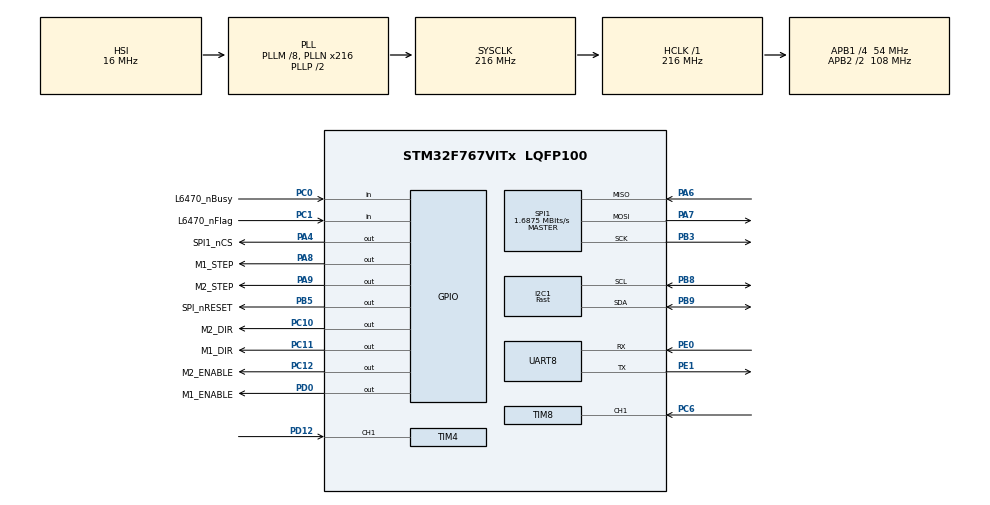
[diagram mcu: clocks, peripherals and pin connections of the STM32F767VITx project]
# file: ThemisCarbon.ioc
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Dma.Request0=UART8_RX
Dma.Request1=UART8_TX
Dma.UART8_RX.0.Direction=DMA_PERIPH_TO_MEMORY
Dma.UART8_RX.0.FIFOMode=DMA_FIFOMODE_DISABLE
Dma.UART8_RX.0.Instance=DMA1_Stream6
Dma.UART8_RX.0.MemDataAlignment=DMA_MDATAALIGN_BYTE
Dma.UART8_RX.0.MemInc=DMA_MINC_ENABLE
Dma.UART8_RX.0.Mode=DMA_CIRCULAR
Dma.UART8_RX.0.PeriphDataAlignment=DMA_PDATAALIGN_BYTE
Dma.UART8_RX.0.PeriphInc=DMA_PINC_DISABLE
Dma.UART8_RX.0.Priority=DMA_PRIORITY_LOW
Dma.UART8_TX.1.Direction=DMA_MEMORY_TO_PERIPH
Dma.UART8_TX.1.FIFOMode=DMA_FIFOMODE_DISABLE
Dma.UART8_TX.1.Instance=DMA1_Stream0
Dma.UART8_TX.1.MemDataAlignment=DMA_MDATAALIGN_BYTE
Dma.UART8_TX.1.MemInc=DMA_MINC_ENABLE
Dma.UART8_TX.1.Mode=DMA_NORMAL
Dma.UART8_TX.1.PeriphDataAlignment=DMA_PDATAALIGN_BYTE
Dma.UART8_TX.1.PeriphInc=DMA_PINC_DISABLE
Dma.UART8_TX.1.Priority=DMA_PRIORITY_LOW
I2C1.I2C_Speed_Mode=I2C_Fast
I2C1.Timing=0x6000030D
Mcu.Family=STM32F7
Mcu.Name=STM32F767VITx
Mcu.Package=LQFP100
NVIC.DMA1_Stream0_IRQn=true\:0\:0\:false\:false\:true\:true
NVIC.DMA1_Stream6_IRQn=true\:0\:0\:false\:false\:true\:true
NVIC.PriorityGroup=NVIC_PRIORITYGROUP_4
NVIC.TIM2_IRQn=true\:0\:0\:false\:false\:true\:true
NVIC.UART8_IRQn=true\:0\:0\:false\:false\:true\:true
PA13.Mode=Serial_Wire
PA13.Signal=SYS_JTMS-SWDIO
PA14.Mode=Serial_Wire
PA14.Signal=SYS_JTCK-SWCLK
PA4.GPIO_Label=SPI1_nCS
PA4.GPIO_ModeDefaultOutputPP=GPIO_MODE_OUTPUT_OD
PA4.GPIO_PuPd=GPIO_PULLUP
PA4.Signal=GPIO_Output
PA6.Mode=Full_Duplex_Master
PA6.Signal=SPI1_MISO
PA7.Mode=Full_Duplex_Master
PA7.Signal=SPI1_MOSI
PA8.GPIO_Label=M1_STEP
PA8.Signal=GPIO_Output
PA9.GPIO_Label=M2_STEP
PA9.Signal=GPIO_Output
PB3.Mode=Full_Duplex_Master
PB3.Signal=SPI1_SCK
PB5.GPIO_Label=SPI_nRESET
PB5.GPIO_ModeDefaultOutputPP=GPIO_MODE_OUTPUT_OD
PB5.GPIO_PuPd=GPIO_PULLUP
PB5.Signal=GPIO_Output
PB8.Mode=I2C
PB8.Signal=I2C1_SCL
PB9.Mode=I2C
PB9.Signal=I2C1_SDA
PC0.GPIO_Label=L6470_nBusy
PC0.Signal=GPIO_Input
PC1.GPIO_Label=L6470_nFlag
PC1.Signal=GPIO_Input
PC10.GPIO_Label=M2_DIR
PC10.Signal=GPIO_Output
PC11.GPIO_Label=M1_DIR
PC11.Signal=GPIO_Output
PC12.GPIO_Label=M2_ENABLE
PC12.Signal=GPIO_Output
PC6.Signal=S_TIM8_CH1
PD0.GPIO_Label=M1_ENABLE
PD0.Signal=GPIO_Output
PD12.Signal=S_TIM4_CH1
PE0.Mode=Asynchronous
PE0.Signal=UART8_RX
PE1.Mode=Asynchronous
PE1.Signal=UART8_TX
ProjectManager.HeapSize=0x200
ProjectManager.StackSize=0x400
ProjectManager.TargetToolchain=TrueSTUDIO
RCC.AHBFreq_Value=216000000
RCC.APB1CLKDivider=RCC_HCLK_DIV4
RCC.APB1Freq_Value=54000000
RCC.APB1TimFreq_Value=108000000
RCC.APB2CLKDivider=RCC_HCLK_DIV2
RCC.APB2Freq_Value=108000000
RCC.APB2TimFreq_Value=216000000
RCC.CortexFreq_Value=216000000
RCC.HCLKFreq_Value=216000000
RCC.HSE_VALUE=25000000
RCC.HSI_VALUE=16000000
RCC.LSE_VALUE=32768
RCC.PLLM=8
RCC.PLLN=216
RCC.SYSCLKFreq_VALUE=216000000
RCC.SYSCLKSource=RCC_SYSCLKSOURCE_PLLCLK
RCC.USBFreq_Value=216000000
RCC.VCOOutputFreq_Value=432000000
SH.S_TIM4_CH1.0=TIM4_CH1,PWM_Input_1
SH.S_TIM8_CH1.0=TIM8_CH1,PWM_Input_1
SPI1.BaudRatePrescaler=SPI_BAUDRATEPRESCALER_64
SPI1.CalculateBaudRate=1.6875 MBits/s
SPI1.DataSize=SPI_DATASIZE_8BIT
SPI1.Direction=SPI_DIRECTION_2LINES
SPI1.Mode=SPI_MODE_MASTER
SPI1.VirtualType=VM_MASTER
TIM2.Period=107
TIM2.Prescaler=3
TIM4.Period=0xffff
TIM4.Prescaler=107
TIM8.Period=0xffff
TIM8.Prescaler=215
UART8.WordLength=WORDLENGTH_8B
VP_TIM2_VS_ClockSourceINT.Mode=Internal
VP_TIM4_VS_ClockSourceINT.Mode=Internal
VP_TIM8_VS_ClockSourceINT.Mode=Internal
board=ThemisCarbon

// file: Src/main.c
/**
  ******************************************************************************
  * File Name          : main.c
  * Description        : Main program body
  ******************************************************************************
  ** This notice applies to any and all portions of this file
  * that are not between comment pairs USER CODE BEGIN and
  * USER CODE END. Other portions of this file, whether
  * inserted by the user or by software development tools
  * are owned by their respective copyright owners.
  *
  * COPYRIGHT(c) 2017 STMicroelectronics
  *
  * Redistribution and use in source and binary forms, with or without modification,
  * are permitted provided that the following conditions are met:
  *   1. Redistributions of source code must retain the above copyright notice,
  *      this list of conditions and the following disclaimer.
  *   2. Redistributions in binary form must reproduce the above copyright notice,
  *      this list of conditions and the following disclaimer in the documentation
  *      and/or other materials provided with the distribution.
  *   3. Neither the name of STMicroelectronics nor the names of its contributors
  *      may be used to endorse or promote products derived from this software
  *      without specific prior written permission.
  *
  * THIS SOFTWARE IS PROVIDED BY THE COPYRIGHT HOLDERS AND CONTRIBUTORS "AS IS"
  * AND ANY EXPRESS OR IMPLIED WARRANTIES, INCLUDING, BUT NOT LIMITED TO, THE
  * IMPLIED WARRANTIES OF MERCHANTABILITY AND FITNESS FOR A PARTICULAR PURPOSE ARE
  * DISCLAIMED. IN NO EVENT SHALL THE COPYRIGHT HOLDER OR CONTRIBUTORS BE LIABLE
  * FOR ANY DIRECT, INDIRECT, INCIDENTAL, SPECIAL, EXEMPLARY, OR CONSEQUENTIAL
  * DAMAGES (INCLUDING, BUT NOT LIMITED TO, PROCUREMENT OF SUBSTITUTE GOODS OR
  * SERVICES; LOSS OF USE, DATA, OR PROFITS; OR BUSINESS INTERRUPTION) HOWEVER
  * CAUSED AND ON ANY THEORY OF LIABILITY, WHETHER IN CONTRACT, STRICT LIABILITY,
  * OR TORT (INCLUDING NEGLIGENCE OR OTHERWISE) ARISING IN ANY WAY OUT OF THE USE
  * OF THIS SOFTWARE, EVEN IF ADVISED OF THE POSSIBILITY OF SUCH DAMAGE.
  *
  ******************************************************************************
  */

#include "main.h"
#include "stm32f7xx_hal.h"

/* USER CODE BEGIN Includes */
#include <stdbool.h>
#include <math.h>

#include "configuration.h"
#include "serial.h"
#include "protocol.h"
#include "protocol_interpreter.h"
#include "imu.h"
#include "pid.h"
#include "stepper.h"
#include "ewma.h"

/* USER CODE END Includes */

I2C_HandleTypeDef hi2c1;

SPI_HandleTypeDef hspi1;

TIM_HandleTypeDef htim2;
TIM_HandleTypeDef htim4;
TIM_HandleTypeDef htim8;

UART_HandleTypeDef huart8;
DMA_HandleTypeDef hdma_uart8_rx;
DMA_HandleTypeDef hdma_uart8_tx;

/* USER CODE BEGIN PV */
/* Private variables ---------------------------------------------------------*/

static float const distance_CoG = 0.13; // 13cm above the floor
static float const wheel_distance = 0.11; // 12cm from center

static float *pitch_ref = &configuration_data[IMU_PITCH_REF];

StepperMotor_HandleTypeDef m1;
StepperMotor_HandleTypeDef m2;

ewma_handler m1_ewma = {&configuration_data[M_FILTER], 0.0};
ewma_handler m2_ewma = {&configuration_data[M_FILTER], 0.0};

static float m1_speed = 0.0;
static float m2_speed = 0.0;

static bool configured = false;
static bool armed = false;

pid_win_handler pid_pitch =
{
		&configuration_data[CTRL_PKP],
		&configuration_data[CTRL_PKI],
		&configuration_data[CTRL_PKD],
	-400.0*16.0*5.0, //configuration_data[M_SPEED],
	400.0*16.0*5.0, //configuration_data[M_SPEED],
	PID_WIN_SIZE,
	0.1 // 10xT filter
};
static int32_t pid_pitch_output = 0;

int32_t abs_pos_0 = 0;
int32_t abs_pos_1 = 0;
int32_t abs_pos = 0;
int32_t abs_pos_last = 0;
int32_t delta_pos = 0;

float actual_xspeed = 0.0;
float actual_wspeed = 0.0;
float reference_xspeed = 0.0f;
float reference_wspeed = 0.0f;

ewma_handler xspeed_ewma = {&configuration_data[CTRL_XFILTER], 0.0};
ewma_handler wspeed_ewma = {&configuration_data[CTRL_YFILTER], 0.0};

pid_handler pid_x =
{
		&configuration_data[CTRL_XKP],
		&configuration_data[CTRL_XKI],
		&configuration_data[CTRL_XKD],
	-10.0,
	10.0,
	0.1 // no filter
};

static float pid_x_output = 0;

static float distance = 0.0;

float e_pitch_alpha = 1.0/2000.0;
ewma_handler e_ptich_correction = {&e_pitch_alpha, 0.0};

/* USER CODE END PV */

void SystemClock_Config(void);
static void MX_GPIO_Init(void);
static void MX_DMA_Init(void);
static void MX_I2C1_Init(void);
static void MX_SPI1_Init(void);
static void MX_UART8_Init(void);
static void MX_TIM8_Init(void);
static void MX_TIM4_Init(void);
static void MX_TIM2_Init(void);

/* USER CODE BEGIN PFP */
/* Private function prototypes -----------------------------------------------*/
#define ToDeg(x) ((x) * 57.2957795131)

/* USER CODE END PFP */

/* USER CODE BEGIN 0 */
void HAL_SYSTICK_Callback(void)
{
	if(configured)
	{

	}
}
/* USER CODE END 0 */

int main(void)
{

  /* MCU Configuration----------------------------------------------------------*/

  /* Reset of all peripherals, Initializes the Flash interface and the Systick. */
  HAL_Init();

  /* Configure the system clock */
  SystemClock_Config();

  /* Initialize all configured peripherals */
  MX_GPIO_Init();
  MX_DMA_Init();
  MX_I2C1_Init();
  MX_SPI1_Init();
  MX_UART8_Init();
  MX_TIM8_Init();
  MX_TIM4_Init();
  MX_TIM2_Init();

  /* USER CODE BEGIN 2 */
	// PWM inputs 1 & 2 (no HAL class at the moment)
	HAL_TIM_IC_Start(&htim8,TIM_CHANNEL_1); // Rx1
	HAL_TIM_IC_Start(&htim8,TIM_CHANNEL_2);
	HAL_TIM_IC_Start(&htim4,TIM_CHANNEL_1); // Rx2
	HAL_TIM_IC_Start(&htim4,TIM_CHANNEL_2);

	// Configuration : hard-coded first flash
	if(0)
	{
		configuration_data[IMU_PITCH_REF] = 0.0;
		configuration_data[IMU_ROLL_REF] = 0.0;
		configuration_data[IMU_YAW_REF] = 0.0;
		configuration_data[IMU_SPARE1] = 0.0;
		configuration_data[IMU_SPARE2] = 0.0;
		configuration_data[IMU_SPARE3] = 0.0;

		configuration_data[M_ACC] = 	0.0; //! steps/s^2
		configuration_data[M_SPEED] = 	0.0; // step/s
		configuration_data[M_FILTER] = 0.5;
		configuration_data[M_SPARE1] = 0.0;
		configuration_data[M_SPARE2] = 0.0;
		configuration_data[M_SPARE3] = 0.0;

		configuration_data[CTRL_PKP] = 1000.0;
		configuration_data[CTRL_PKI] = 10.0;
		configuration_data[CTRL_PKD] = 1000.0;

		configuration_data[CTRL_YKP] = 0.0;
		configuration_data[CTRL_YKI] = 0.0;
		configuration_data[CTRL_YKD] = 0.0;

		configuration_data[CTRL_XKP] = 13.0;
		configuration_data[CTRL_XKI] = 0.09;
		configuration_data[CTRL_XKD] = 0.0;

		configuration_data[CTRL_XFILTER] = 0.5;
		configuration_data[CTRL_YFILTER] = 1.0;
		configuration_data[CTRL_PFILTER] = 1.0;

		HAL_Configuration_Save();
	}
	// Configuration restore
	HAL_Configuration_Reload();

	HAL_Imu_Init();
	if(0)
	{
		HAL_Imu_Gyr_Drift_Calibration();
	}
	if(0)
	{
		HAL_Imu_Mag_Calibration();
	}
	HAL_Imu_Process();

	// Motors
	HAL_Stepper_Motor_Add(
		  &m1,
		  M1_STEP_GPIO_Port,
		  M1_STEP_Pin,
		  M1_DIR_GPIO_Port,
		  M1_DIR_Pin
	);
	HAL_Stepper_Motor_Add(
		  &m2,
		  M2_STEP_GPIO_Port,
		  M2_STEP_Pin,
		  M2_DIR_GPIO_Port,
		  M2_DIR_Pin
	);
	HAL_Stepper_Motor_Init(&htim2);

	HAL_Stepper_Motor_Set_Speed(&m1,0);
	HAL_Stepper_Motor_Set_Speed(&m2,0);
	HAL_GPIO_WritePin(M1_ENABLE_GPIO_Port,M1_ENABLE_Pin,GPIO_PIN_SET); //! RESET to run
	HAL_GPIO_WritePin(M2_ENABLE_GPIO_Port,M2_ENABLE_Pin,GPIO_PIN_SET);

	// Telemetry
	HAL_Serial_Init(&huart8,&com);
	{
		float tx_data_buffer[32];
		tx_data_buffer[0]=configuration_data[IMU_PITCH_REF];
		tx_data_buffer[1]=configuration_data[CTRL_PKP];
		tx_data_buffer[2]=configuration_data[CTRL_PKI];
		tx_data_buffer[3]=configuration_data[CTRL_PKD];
		tx_data_buffer[4]=configuration_data[CTRL_XKP];
		tx_data_buffer[5]=configuration_data[CTRL_XKI];
		tx_data_buffer[6]=configuration_data[CTRL_XKD];
		tx_data_buffer[7]=configuration_data[CTRL_XFILTER];
		tx_data_buffer[8]=configuration_data[CTRL_YFILTER];
		tx_data_buffer[9]=configuration_data[CTRL_PFILTER];

		int enc_ret = protocol_encode(
			tx_protocol_buffer,
			CMD_CONFIGURATION,
			(uint8_t const*)tx_data_buffer,
			4*21 );
		if(enc_ret>0)
		HAL_Serial_Write(&com, tx_protocol_buffer, enc_ret );
		HAL_Delay(3);
	}

	reset_pid_win(&pid_pitch);
	reset_pid(&pid_x);

	reset_ewma( &m1_ewma );
	reset_ewma( &m2_ewma );
	reset_ewma( &xspeed_ewma );
	reset_ewma( &wspeed_ewma );
	reset_ewma( &e_ptich_correction );

	// end of startup
	  armed = false;
	configured = true;
  /* USER CODE END 2 */

  /* Infinite loop */
  /* USER CODE BEGIN WHILE */
	uint32_t last_time = HAL_GetTick();
  while (1)
  {
  /* USER CODE END WHILE */

  /* USER CODE BEGIN 3 */
	  APP_Protocol_Interpreter_Process();
	  uint32_t current_time = HAL_GetTick();
	  if(current_time>=last_time+5)
	  {
			last_time = current_time;
			HAL_Imu_Process();
			// actual x and w speeds (m/s)
			abs_pos_0 = HAL_Stepper_Motor_Get_Position(&m1);
			abs_pos_1 = HAL_Stepper_Motor_Get_Position(&m2);
			abs_pos_last = abs_pos;
			abs_pos = (abs_pos_1-abs_pos_0)/2;
			delta_pos = (abs_pos_1+abs_pos_0)/2;
			distance = (float)(abs_pos)*(M_PI*0.1/(400.0*16.0))+distance_CoG*sin(HAL_Imu_Angle(IMU_ANGLE_PITCH)*M_PI/180); // m

			if( armed && ( (HAL_Imu_Angle(IMU_ANGLE_PITCH)>10.0) || (HAL_Imu_Angle(IMU_ANGLE_PITCH)<-10.0) ) )
			{
				armed = false;
				HAL_Stepper_Motor_Set_Speed(&m1,0);
				HAL_Stepper_Motor_Set_Speed(&m2,0);
				HAL_GPIO_WritePin(M1_ENABLE_GPIO_Port,M1_ENABLE_Pin,GPIO_PIN_SET); //! RESET to run
				HAL_GPIO_WritePin(M2_ENABLE_GPIO_Port,M2_ENABLE_Pin,GPIO_PIN_SET);

			}
			else if(armed)
			{
				// read PWM 1 & 2
				uint32_t period1 = htim8.Instance->CCR1; // 1000 .. 2000 Rx1
				uint32_t period2 = htim4.Instance->CCR1; // 1000 .. 2000 Rx2
				uint32_t width1 = htim8.Instance->CCR2; // 1000 .. 2000
				uint32_t width2 = htim4.Instance->CCR2; // 1000 .. 2000
				if(period1>0 && period2>0 && width1>0 && width2>0)
				{
					if((1450<width1)&&(width1<1550)) width1 = 1500; // deadzone
					if((1450<width2)&&(width2<1550)) width2 = 1500; // deadzone
					//reference_wspeed = fmap( (float)((int32_t)(width1) - 1500), -500.0, 500.0, -300.0, 300.0); // m/s
					//reference_xspeed = fmap( (float)((int32_t)(width2) - 1500), -500.0, 500.0, -800.0, 800.0); // m/s
					reference_xspeed = (float)((int32_t)(width1)-1500)/1000.0; // m/s ... 0.5m/s max
					reference_wspeed = (float)((int32_t)(width2)-1500)*10.0; // deg/s ... 10 dps max
				}
				else
				{
					reference_xspeed = 0.0f;
					reference_wspeed = 0.0f;
				}

				actual_xspeed = process_ewma(&xspeed_ewma,(float)(abs_pos-abs_pos_last)*(M_PI*0.1/(400.0*16.0))*200.0); //+distance_CoG*sin(HAL_Imu_Angle(IMU_ANGLE_PITCH)*M_PI/180); // m/s
				actual_wspeed = process_ewma(&wspeed_ewma,200.0*ToDeg(fastAtan2((float)(delta_pos)*(M_PI*0.1/(400.0*16.0)),wheel_distance)));

				pid_x_output = process_pid(&pid_x,reference_xspeed-actual_xspeed);
				pid_pitch_output = process_pid_win(&pid_pitch,HAL_Imu_Angle(IMU_ANGLE_PITCH) - pid_x_output + *pitch_ref );

				process_ewma(&e_ptich_correction,pid_x_output); // bizarre filtrage apres etre utilisИ

				m1_speed = process_ewma(&m1_ewma,pid_pitch_output-reference_wspeed);
				m2_speed = process_ewma(&m2_ewma,pid_pitch_output+reference_wspeed);

				HAL_Stepper_Motor_Set_Speed(&m1,-(int32_t)m1_speed);
				HAL_Stepper_Motor_Set_Speed(&m2,(int32_t)m2_speed);

			}
			else // not amred
			{
				HAL_GPIO_WritePin(M1_ENABLE_GPIO_Port,M1_ENABLE_Pin,GPIO_PIN_RESET); //! RESET to run
				HAL_GPIO_WritePin(M2_ENABLE_GPIO_Port,M2_ENABLE_Pin,GPIO_PIN_RESET);
				HAL_Stepper_Motor_Set_Speed(&m1,0);
				HAL_Stepper_Motor_Set_Speed(&m2,0);
				HAL_Stepper_Motor_Reset_Position(&m1);
				HAL_Stepper_Motor_Reset_Position(&m2);
				reset_pid_win(&pid_pitch);
				reset_pid(&pid_x);
				reset_ewma( &m1_ewma );
				reset_ewma( &m2_ewma );
				reset_ewma( &xspeed_ewma );
				reset_ewma( &wspeed_ewma );
				pid_x_output = 0.0;
				pid_pitch_output = 0.0;
				m1_speed = 0.0;
				m2_speed = 0.0;
				armed = (HAL_Imu_Angle(IMU_ANGLE_PITCH)>-1.5) && (HAL_Imu_Angle(IMU_ANGLE_PITCH)<1.5);
				if(armed)
				{
				}
			}

			if(0 && HAL_Imu_Get_State()!=0)
			{
				int16_t * raw_data = HAL_Imu_Raw_Sensor_Data();
				HAL_Serial_Print(&com,"%d %d %d\n",raw_data[6],raw_data[7],raw_data[8]);

			}
			if(0)
			{
				float * scaled_data = HAL_Imu_Scaled_Sensor_Data();
								HAL_Serial_Print(&com,"%d %d %d\n",(int32_t)(1000.0*scaled_data[6]),(int32_t)(1000.0*scaled_data[7]),(int32_t)(1000.0*scaled_data[8]));
			}
			if(1)
			{
				static int32_t tx_data_buffer_int[32];
				tx_data_buffer_int[0]=(int32_t)(HAL_Imu_Scaled_Sensor_Data()[1]*180/3.1415*10.0);
				tx_data_buffer_int[1]=(int32_t)(HAL_Imu_Angle(IMU_ANGLE_PITCH)*10.0);
				tx_data_buffer_int[2]=(int32_t)(distance*1000.0);
				tx_data_buffer_int[3]=(int32_t)(pid_x_output*10.0);
				tx_data_buffer_int[4]=(int32_t)pid_pitch_output;
				tx_data_buffer_int[5]=(int32_t)(e_ptich_correction.mean*100.0);
				tx_data_buffer_int[6]=(int32_t)(actual_xspeed*1000.0);
				tx_data_buffer_int[7]=0;
				int enc_ret = protocol_encode(
						tx_protocol_buffer,
						CMD_TELEMETRY_TICK,
						(uint8_t const*)tx_data_buffer_int,
						7*4 );
				if(enc_ret>0)
					HAL_Serial_Write(&com, tx_protocol_buffer, enc_ret );
			}
	  }
  }
  /* USER CODE END 3 */

}

/** System Clock Configuration
*/
void SystemClock_Config(void)
{

  RCC_OscInitTypeDef RCC_OscInitStruct;
  RCC_ClkInitTypeDef RCC_ClkInitStruct;
  RCC_PeriphCLKInitTypeDef PeriphClkInitStruct;

    /**Configure the main internal regulator output voltage
    */
  __HAL_RCC_PWR_CLK_ENABLE();

  __HAL_PWR_VOLTAGESCALING_CONFIG(PWR_REGULATOR_VOLTAGE_SCALE1);

    /**Initializes the CPU, AHB and APB busses clocks
    */
  RCC_OscInitStruct.OscillatorType = RCC_OSCILLATORTYPE_HSI;
  RCC_OscInitStruct.HSIState = RCC_HSI_ON;
  RCC_OscInitStruct.HSICalibrationValue = 16;
  RCC_OscInitStruct.PLL.PLLState = RCC_PLL_ON;
  RCC_OscInitStruct.PLL.PLLSource = RCC_PLLSOURCE_HSI;
  RCC_OscInitStruct.PLL.PLLM = 8;
  RCC_OscInitStruct.PLL.PLLN = 216;
  RCC_OscInitStruct.PLL.PLLP = RCC_PLLP_DIV2;
  RCC_OscInitStruct.PLL.PLLQ = 2;
  if (HAL_RCC_OscConfig(&RCC_OscInitStruct) != HAL_OK)
  {
    _Error_Handler(__FILE__, __LINE__);
  }

    /**Activate the Over-Drive mode
    */
  if (HAL_PWREx_EnableOverDrive() != HAL_OK)
  {
    _Error_Handler(__FILE__, __LINE__);
  }

    /**Initializes the CPU, AHB and APB busses clocks
    */
  RCC_ClkInitStruct.ClockType = RCC_CLOCKTYPE_HCLK|RCC_CLOCKTYPE_SYSCLK
                              |RCC_CLOCKTYPE_PCLK1|RCC_CLOCKTYPE_PCLK2;
  RCC_ClkInitStruct.SYSCLKSource = RCC_SYSCLKSOURCE_PLLCLK;
  RCC_ClkInitStruct.AHBCLKDivider = RCC_SYSCLK_DIV1;
  RCC_ClkInitStruct.APB1CLKDivider = RCC_HCLK_DIV4;
  RCC_ClkInitStruct.APB2CLKDivider = RCC_HCLK_DIV2;

  if (HAL_RCC_ClockConfig(&RCC_ClkInitStruct, FLASH_LATENCY_7) != HAL_OK)
  {
    _Error_Handler(__FILE__, __LINE__);
  }

  PeriphClkInitStruct.PeriphClockSelection = RCC_PERIPHCLK_UART8|RCC_PERIPHCLK_I2C1;
  PeriphClkInitStruct.Uart8ClockSelection = RCC_UART8CLKSOURCE_PCLK1;
  PeriphClkInitStruct.I2c1ClockSelection = RCC_I2C1CLKSOURCE_PCLK1;
  if (HAL_RCCEx_PeriphCLKConfig(&PeriphClkInitStruct) != HAL_OK)
  {
    _Error_Handler(__FILE__, __LINE__);
  }

    /**Configure the Systick interrupt time
    */
  HAL_SYSTICK_Config(HAL_RCC_GetHCLKFreq()/1000);

    /**Configure the Systick
    */
  HAL_SYSTICK_CLKSourceConfig(SYSTICK_CLKSOURCE_HCLK);

  /* SysTick_IRQn interrupt configuration */
  HAL_NVIC_SetPriority(SysTick_IRQn, 0, 0);
}

/* I2C1 init function */
static void MX_I2C1_Init(void)
{

  hi2c1.Instance = I2C1;
  hi2c1.Init.Timing = 0x6000030D;
  hi2c1.Init.OwnAddress1 = 0;
  hi2c1.Init.AddressingMode = I2C_ADDRESSINGMODE_7BIT;
  hi2c1.Init.DualAddressMode = I2C_DUALADDRESS_DISABLE;
  hi2c1.Init.OwnAddress2 = 0;
  hi2c1.Init.OwnAddress2Masks = I2C_OA2_NOMASK;
  hi2c1.Init.GeneralCallMode = I2C_GENERALCALL_DISABLE;
  hi2c1.Init.NoStretchMode = I2C_NOSTRETCH_DISABLE;
  if (HAL_I2C_Init(&hi2c1) != HAL_OK)
  {
    _Error_Handler(__FILE__, __LINE__);
  }

    /**Configure Analogue filter
    */
  if (HAL_I2CEx_ConfigAnalogFilter(&hi2c1, I2C_ANALOGFILTER_ENABLE) != HAL_OK)
  {
    _Error_Handler(__FILE__, __LINE__);
  }

    /**Configure Digital filter
    */
  if (HAL_I2CEx_ConfigDigitalFilter(&hi2c1, 0) != HAL_OK)
  {
    _Error_Handler(__FILE__, __LINE__);
  }

}

/* SPI1 init function */
static void MX_SPI1_Init(void)
{

  /* SPI1 parameter configuration*/
  hspi1.Instance = SPI1;
  hspi1.Init.Mode = SPI_MODE_MASTER;
  hspi1.Init.Direction = SPI_DIRECTION_2LINES;
  hspi1.Init.DataSize = SPI_DATASIZE_8BIT;
  hspi1.Init.CLKPolarity = SPI_POLARITY_LOW;
  hspi1.Init.CLKPhase = SPI_PHASE_1EDGE;
  hspi1.Init.NSS = SPI_NSS_SOFT;
  hspi1.Init.BaudRatePrescaler = SPI_BAUDRATEPRESCALER_64;
  hspi1.Init.FirstBit = SPI_FIRSTBIT_MSB;
  hspi1.Init.TIMode = SPI_TIMODE_DISABLE;
  hspi1.Init.CRCCalculation = SPI_CRCCALCULATION_DISABLE;
  hspi1.Init.CRCPolynomial = 7;
  hspi1.Init.CRCLength = SPI_CRC_LENGTH_DATASIZE;
  hspi1.Init.NSSPMode = SPI_NSS_PULSE_ENABLE;
  if (HAL_SPI_Init(&hspi1) != HAL_OK)
  {
    _Error_Handler(__FILE__, __LINE__);
  }

}

/* TIM2 init function */
static void MX_TIM2_Init(void)
{

  TIM_ClockConfigTypeDef sClockSourceConfig;
  TIM_MasterConfigTypeDef sMasterConfig;

  htim2.Instance = TIM2;
  htim2.Init.Prescaler = 3;
  htim2.Init.CounterMode = TIM_COUNTERMODE_UP;
  htim2.Init.Period = 107;
  htim2.Init.ClockDivision = TIM_CLOCKDIVISION_DIV1;
  htim2.Init.AutoReloadPreload = TIM_AUTORELOAD_PRELOAD_DISABLE;
  if (HAL_TIM_Base_Init(&htim2) != HAL_OK)
  {
    _Error_Handler(__FILE__, __LINE__);
  }

  sClockSourceConfig.ClockSource = TIM_CLOCKSOURCE_INTERNAL;
  if (HAL_TIM_ConfigClockSource(&htim2, &sClockSourceConfig) != HAL_OK)
  {
    _Error_Handler(__FILE__, __LINE__);
  }

  sMasterConfig.MasterOutputTrigger = TIM_TRGO_RESET;
  sMasterConfig.MasterSlaveMode = TIM_MASTERSLAVEMODE_DISABLE;
  if (HAL_TIMEx_MasterConfigSynchronization(&htim2, &sMasterConfig) != HAL_OK)
  {
    _Error_Handler(__FILE__, __LINE__);
  }

}

/* TIM4 init function */
static void MX_TIM4_Init(void)
{

  TIM_ClockConfigTypeDef sClockSourceConfig;
  TIM_SlaveConfigTypeDef sSlaveConfig;
  TIM_IC_InitTypeDef sConfigIC;
  TIM_MasterConfigTypeDef sMasterConfig;

  htim4.Instance = TIM4;
  htim4.Init.Prescaler = 107;
  htim4.Init.CounterMode = TIM_COUNTERMODE_UP;
  htim4.Init.Period = 0xffff;
  htim4.Init.ClockDivision = TIM_CLOCKDIVISION_DIV1;
  htim4.Init.AutoReloadPreload = TIM_AUTORELOAD_PRELOAD_DISABLE;
  if (HAL_TIM_Base_Init(&htim4) != HAL_OK)
  {
    _Error_Handler(__FILE__, __LINE__);
  }

  sClockSourceConfig.ClockSource = TIM_CLOCKSOURCE_INTERNAL;
  if (HAL_TIM_ConfigClockSource(&htim4, &sClockSourceConfig) != HAL_OK)
  {
    _Error_Handler(__FILE__, __LINE__);
  }

  if (HAL_TIM_IC_Init(&htim4) != HAL_OK)
  {
    _Error_Handler(__FILE__, __LINE__);
  }

  sSlaveConfig.SlaveMode = TIM_SLAVEMODE_RESET;
  sSlaveConfig.InputTrigger = TIM_TS_TI1FP1;
  sSlaveConfig.TriggerPolarity = TIM_INPUTCHANNELPOLARITY_RISING;
  sSlaveConfig.TriggerPrescaler = TIM_ICPSC_DIV1;
  sSlaveConfig.TriggerFilter = 0;
  if (HAL_TIM_SlaveConfigSynchronization(&htim4, &sSlaveConfig) != HAL_OK)
  {
    _Error_Handler(__FILE__, __LINE__);
  }

  sConfigIC.ICPolarity = TIM_INPUTCHANNELPOLARITY_RISING;
  sConfigIC.ICSelection = TIM_ICSELECTION_DIRECTTI;
  sConfigIC.ICPrescaler = TIM_ICPSC_DIV1;
  sConfigIC.ICFilter = 0;
  if (HAL_TIM_IC_ConfigChannel(&htim4, &sConfigIC, TIM_CHANNEL_1) != HAL_OK)
  {
    _Error_Handler(__FILE__, __LINE__);
  }

  sConfigIC.ICPolarity = TIM_INPUTCHANNELPOLARITY_FALLING;
  sConfigIC.ICSelection = TIM_ICSELECTION_INDIRECTTI;
  if (HAL_TIM_IC_ConfigChannel(&htim4, &sConfigIC, TIM_CHANNEL_2) != HAL_OK)
  {
    _Error_Handler(__FILE__, __LINE__);
  }

  sMasterConfig.MasterOutputTrigger = TIM_TRGO_RESET;
  sMasterConfig.MasterSlaveMode = TIM_MASTERSLAVEMODE_DISABLE;
  if (HAL_TIMEx_MasterConfigSynchronization(&htim4, &sMasterConfig) != HAL_OK)
  {
    _Error_Handler(__FILE__, __LINE__);
  }

}

/* TIM8 init function */
static void MX_TIM8_Init(void)
{

  TIM_ClockConfigTypeDef sClockSourceConfig;
  TIM_SlaveConfigTypeDef sSlaveConfig;
  TIM_IC_InitTypeDef sConfigIC;
  TIM_MasterConfigTypeDef sMasterConfig;

  htim8.Instance = TIM8;
  htim8.Init.Prescaler = 215;
  htim8.Init.CounterMode = TIM_COUNTERMODE_UP;
  htim8.Init.Period = 0xffff;
  htim8.Init.ClockDivision = TIM_CLOCKDIVISION_DIV1;
  htim8.Init.RepetitionCounter = 0;
  htim8.Init.AutoReloadPreload = TIM_AUTORELOAD_PRELOAD_DISABLE;
  if (HAL_TIM_Base_Init(&htim8) != HAL_OK)
  {
    _Error_Handler(__FILE__, __LINE__);
  }

  sClockSourceConfig.ClockSource = TIM_CLOCKSOURCE_INTERNAL;
  if (HAL_TIM_ConfigClockSource(&htim8, &sClockSourceConfig) != HAL_OK)
  {
    _Error_Handler(__FILE__, __LINE__);
  }

  if (HAL_TIM_IC_Init(&htim8) != HAL_OK)
  {
    _Error_Handler(__FILE__, __LINE__);
  }

  sSlaveConfig.SlaveMode = TIM_SLAVEMODE_RESET;
  sSlaveConfig.InputTrigger = TIM_TS_TI1FP1;
  sSlaveConfig.TriggerPolarity = TIM_INPUTCHANNELPOLARITY_RISING;
  sSlaveConfig.TriggerPrescaler = TIM_ICPSC_DIV1;
  sSlaveConfig.TriggerFilter = 0;
  if (HAL_TIM_SlaveConfigSynchronization(&htim8, &sSlaveConfig) != HAL_OK)
  {
    _Error_Handler(__FILE__, __LINE__);
  }

  sConfigIC.ICPolarity = TIM_INPUTCHANNELPOLARITY_RISING;
  sConfigIC.ICSelection = TIM_ICSELECTION_DIRECTTI;
  sConfigIC.ICPrescaler = TIM_ICPSC_DIV1;
  sConfigIC.ICFilter = 0;
  if (HAL_TIM_IC_ConfigChannel(&htim8, &sConfigIC, TIM_CHANNEL_1) != HAL_OK)
  {
    _Error_Handler(__FILE__, __LINE__);
  }

  sConfigIC.ICPolarity = TIM_INPUTCHANNELPOLARITY_FALLING;
  sConfigIC.ICSelection = TIM_ICSELECTION_INDIRECTTI;
  if (HAL_TIM_IC_ConfigChannel(&htim8, &sConfigIC, TIM_CHANNEL_2) != HAL_OK)
  {
    _Error_Handler(__FILE__, __LINE__);
  }

  sMasterConfig.MasterOutputTrigger = TIM_TRGO_RESET;
  sMasterConfig.MasterOutputTrigger2 = TIM_TRGO2_RESET;
  sMasterConfig.MasterSlaveMode = TIM_MASTERSLAVEMODE_DISABLE;
  if (HAL_TIMEx_MasterConfigSynchronization(&htim8, &sMasterConfig) != HAL_OK)
  {
    _Error_Handler(__FILE__, __LINE__);
  }

}

/* UART8 init function */
static void MX_UART8_Init(void)
{

  huart8.Instance = UART8;
  huart8.Init.BaudRate = 115200;
  huart8.Init.WordLength = UART_WORDLENGTH_8B;
  huart8.Init.StopBits = UART_STOPBITS_1;
  huart8.Init.Parity = UART_PARITY_NONE;
  huart8.Init.Mode = UART_MODE_TX_RX;
  huart8.Init.HwFlowCtl = UART_HWCONTROL_NONE;
  huart8.Init.OverSampling = UART_OVERSAMPLING_16;
  huart8.Init.OneBitSampling = UART_ONE_BIT_SAMPLE_DISABLE;
  huart8.AdvancedInit.AdvFeatureInit = UART_ADVFEATURE_NO_INIT;
  if (HAL_UART_Init(&huart8) != HAL_OK)
  {
    _Error_Handler(__FILE__, __LINE__);
  }

}

static void MX_DMA_Init(void)
{
  /* DMA controller clock enable */
  __HAL_RCC_DMA1_CLK_ENABLE();

  /* DMA interrupt init */
  /* DMA1_Stream0_IRQn interrupt configuration */
  HAL_NVIC_SetPriority(DMA1_Stream0_IRQn, 0, 0);
  HAL_NVIC_EnableIRQ(DMA1_Stream0_IRQn);
  /* DMA1_Stream6_IRQn interrupt configuration */
  HAL_NVIC_SetPriority(DMA1_Stream6_IRQn, 0, 0);
  HAL_NVIC_EnableIRQ(DMA1_Stream6_IRQn);

}

/** Configure pins as
        * Analog
        * Input
        * Output
        * EVENT_OUT
        * EXTI
*/
static void MX_GPIO_Init(void)
{

  GPIO_InitTypeDef GPIO_InitStruct;

  /* GPIO Ports Clock Enable */
  __HAL_RCC_GPIOC_CLK_ENABLE();
  __HAL_RCC_GPIOA_CLK_ENABLE();
  __HAL_RCC_GPIOD_CLK_ENABLE();
  __HAL_RCC_GPIOB_CLK_ENABLE();
  __HAL_RCC_GPIOE_CLK_ENABLE();

  /*Configure GPIO pin Output Level */
  HAL_GPIO_WritePin(GPIOA, SPI1_nCS_Pin|M1_STEP_Pin|M2_STEP_Pin, GPIO_PIN_RESET);

  /*Configure GPIO pin Output Level */
  HAL_GPIO_WritePin(GPIOC, M2_DIR_Pin|M1_DIR_Pin|M2_ENABLE_Pin, GPIO_PIN_RESET);

  /*Configure GPIO pin Output Level */
  HAL_GPIO_WritePin(M1_ENABLE_GPIO_Port, M1_ENABLE_Pin, GPIO_PIN_RESET);

  /*Configure GPIO pin Output Level */
  HAL_GPIO_WritePin(SPI_nRESET_GPIO_Port, SPI_nRESET_Pin, GPIO_PIN_RESET);

  /*Configure GPIO pins : L6470_nBusy_Pin L6470_nFlag_Pin */
  GPIO_InitStruct.Pin = L6470_nBusy_Pin|L6470_nFlag_Pin;
  GPIO_InitStruct.Mode = GPIO_MODE_INPUT;
  GPIO_InitStruct.Pull = GPIO_NOPULL;
  HAL_GPIO_Init(GPIOC, &GPIO_InitStruct);

  /*Configure GPIO pin : SPI1_nCS_Pin */
  GPIO_InitStruct.Pin = SPI1_nCS_Pin;
  GPIO_InitStruct.Mode = GPIO_MODE_OUTPUT_OD;
  GPIO_InitStruct.Pull = GPIO_PULLUP;
  GPIO_InitStruct.Speed = GPIO_SPEED_FREQ_LOW;
  HAL_GPIO_Init(SPI1_nCS_GPIO_Port, &GPIO_InitStruct);

  /*Configure GPIO pins : M1_STEP_Pin M2_STEP_Pin */
  GPIO_InitStruct.Pin = M1_STEP_Pin|M2_STEP_Pin;
  GPIO_InitStruct.Mode = GPIO_MODE_OUTPUT_PP;
  GPIO_InitStruct.Pull = GPIO_NOPULL;
  GPIO_InitStruct.Speed = GPIO_SPEED_FREQ_LOW;
  HAL_GPIO_Init(GPIOA, &GPIO_InitStruct);

  /*Configure GPIO pins : M2_DIR_Pin M1_DIR_Pin M2_ENABLE_Pin */
  GPIO_InitStruct.Pin = M2_DIR_Pin|M1_DIR_Pin|M2_ENABLE_Pin;
  GPIO_InitStruct.Mode = GPIO_MODE_OUTPUT_PP;
  GPIO_InitStruct.Pull = GPIO_NOPULL;
  GPIO_InitStruct.Speed = GPIO_SPEED_FREQ_LOW;
  HAL_GPIO_Init(GPIOC, &GPIO_InitStruct);

  /*Configure GPIO pin : M1_ENABLE_Pin */
  GPIO_InitStruct.Pin = M1_ENABLE_Pin;
  GPIO_InitStruct.Mode = GPIO_MODE_OUTPUT_PP;
  GPIO_InitStruct.Pull = GPIO_NOPULL;
  GPIO_InitStruct.Speed = GPIO_SPEED_FREQ_LOW;
  HAL_GPIO_Init(M1_ENABLE_GPIO_Port, &GPIO_InitStruct);

  /*Configure GPIO pin : SPI_nRESET_Pin */
  GPIO_InitStruct.Pin = SPI_nRESET_Pin;
  GPIO_InitStruct.Mode = GPIO_MODE_OUTPUT_OD;
  GPIO_InitStruct.Pull = GPIO_PULLUP;
  GPIO_InitStruct.Speed = GPIO_SPEED_FREQ_LOW;
  HAL_GPIO_Init(SPI_nRESET_GPIO_Port, &GPIO_InitStruct);

}

void _Error_Handler(char * file, int line)
{
  while(1)
  {
  }
}

/************************ (C) COPYRIGHT STMicroelectronics *****END OF FILE****/
